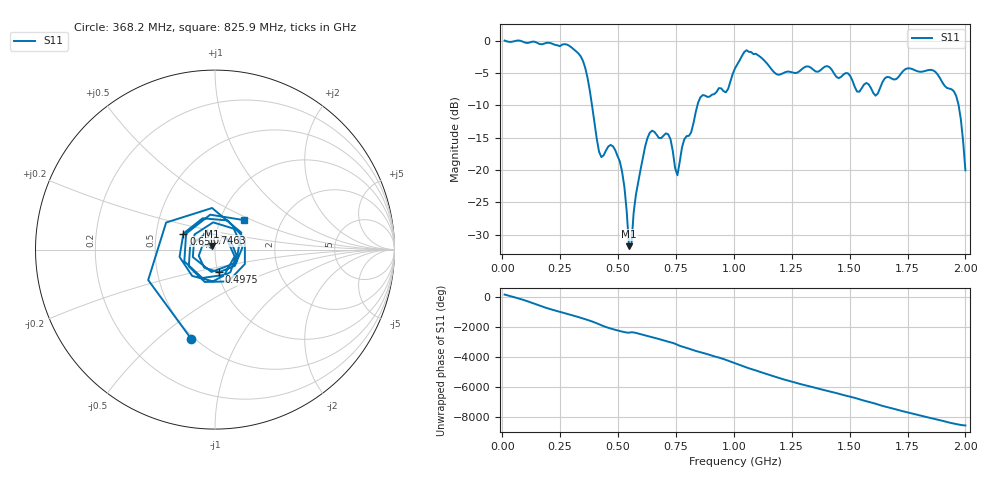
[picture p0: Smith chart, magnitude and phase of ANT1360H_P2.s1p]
!Created with skrf (http://scikit-rf.org).
# Hz S RI R 50.0
!freq ReS11 ImS11
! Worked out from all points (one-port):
!   201 points, 10 MHz to 2 GHz, reference 50 ohm
!   lowest |S11| = -31.8 dB at 547.3 MHz (marker M1), VSWR 1.05, Z = 48.4 + j1.96 ohm
!   |S11| at or under -10 dB: 387.5 MHz to 842.7 MHz (455.2 MHz wide, 74 % of centre); 1.971 GHz to end of sweep
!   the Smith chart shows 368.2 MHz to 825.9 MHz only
!   S11 on the Smith chart (normalised r, x): 368.2 MHz: 0.48, -0.65; 497.6 MHz: 1.01, -0.26; 656.8 MHz: 0.69, +0.13; 746.3 MHz: 0.90, +0.17; 825.9 MHz: 1.30, +0.45
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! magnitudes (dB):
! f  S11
! 10 MHz  0.0
! 258.8 MHz  -0.6
! 368.2 MHz  -5.8
! 417.9 MHz  -17.2
! 497.6 MHz  -17.8
! 507.5 MHz  -18.6
! 527.4 MHz  -22.6
! 547.3 MHz  -31.8
! 557.2 MHz  -31.6
! 577.1 MHz  -23.8
! 617 MHz  -16.3
! 656.8 MHz  -14.1
! 716.5 MHz  -14.5
! 746.3 MHz  -19.7
! 756.2 MHz  -20.8
! 786.1 MHz  -15.2
! 825.9 MHz  -12.7
! 855.8 MHz  -8.7
! 965.2 MHz  -8.0
! 1.005 GHz  -4.3
! 1.055 GHz  -1.5
! 1.254 GHz  -4.9
! 1.502 GHz  -5.4
! 1.612 GHz  -8.5
! 1.751 GHz  -4.3
! 1.95 GHz  -7.8
! 1.98 GHz  -12.1
! 2 GHz  -20.0
